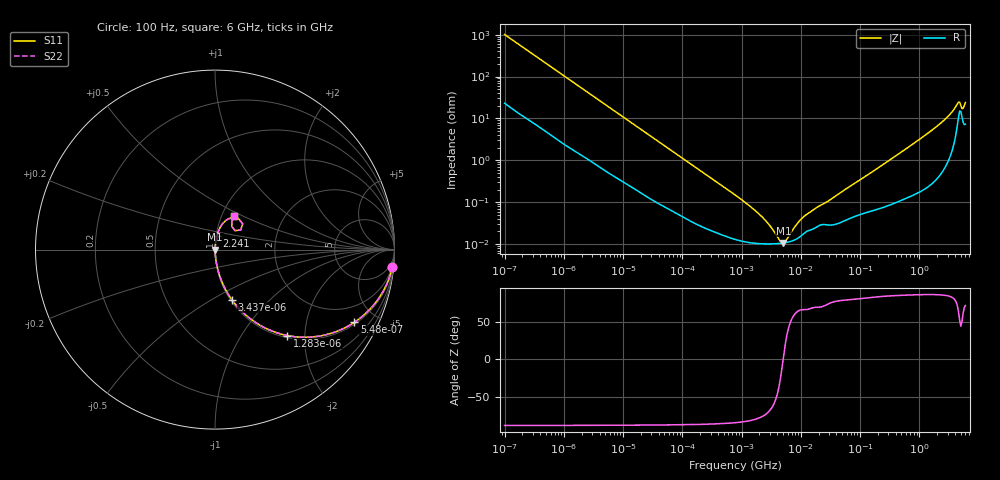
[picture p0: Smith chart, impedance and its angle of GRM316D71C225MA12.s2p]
!Murata Part Number: GRM316D71C225MA12
!These Parameters are Measured in Series Mode Connection
!Data Generated on Mar 30, 2021
!  o--ll--o
!Port1  Port2
!  o------o
!Operation Temp=25[degC], DC Bias Voltage=0[V]
!Freq. Start=100[Hz] Stop=6[GHz] 401[Steps]
# Hz S RI R 50
!Freq.(Hz) S11(Real) S11(Imag) S21(Real) S21(Imag) S12(Real) S12(Imag) S22(Real) S22(Imag)
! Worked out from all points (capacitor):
!   401 points, 100 Hz to 6 GHz, reference 50 ohm
!   read as one part in series: C = 1.57 uF near 109 Hz
!   lowest |Z| = 10.7 mohm at 5.079 MHz (marker M1)
!   series resonance near 5.03 MHz, so ESL is about 640 pH
!   S11 on the Smith chart (normalised r, x): 100 Hz: 1, -20; 548 Hz: 1.09, -3.78; 1.283 kHz: 1.04, -1.63; 3.437 kHz: 1.02, -0.62; 2.241 GHz: 1.01, +0.15; 6 GHz: 1.15, +0.46
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100  0.9881 -0.0975  0.0119 0.0975  0.0119 0.0975  0.9881 -0.0975
268  0.9313 -0.2417  0.0687 0.2417  0.0687 0.2417  0.9313 -0.2417
548  0.7762 -0.4053  0.2238 0.4053  0.2238 0.4053  0.7762 -0.4053
858  0.5946 -0.4796  0.4054 0.4796  0.4054 0.4796  0.5946 -0.4796
1283  0.4028 -0.4787  0.5972 0.4787  0.5972 0.4787  0.4028 -0.4787
2008  0.2224 -0.4036  0.7776 0.4036  0.7776 0.4036  0.2224 -0.4036
3437  0.0936 -0.2787  0.9064 0.2787  0.9064 0.2787  0.0936 -0.2787
10066  0.0144 -0.1058  0.9856 0.1058  0.9856 0.1058  0.0144 -0.1058
40335  0.00167 -0.0275  0.9983 0.0275  0.9983 0.0275  0.00167 -0.0275
774597  0.000132 -0.00149  0.9999 0.00149  0.9999 0.00149  0.000132 -0.00149
2169299  0.000102 -0.000449  0.9999 0.000449  0.9999 0.000449  0.000102 -0.000449
3103719  0.000101 -0.000239  0.9999 0.000239  0.9999 0.000239  0.000101 -0.000239
4440638  0.000104 -5.96e-05  0.9999 5.96e-05  0.9999 5.96e-05  0.000104 -5.96e-05
5079039  0.000107 4.7e-06  0.9999 -4.7e-06  0.9999 -4.7e-06  0.000107 4.7e-06
9941735  0.000154 0.000351  0.9998 -0.000351  0.9998 -0.000351  0.000154 0.000351
1.555665e7  0.000224 0.000586  0.9998 -0.000586  0.9998 -0.000586  0.000224 0.000586
3.124326e8  0.000948 0.00999  0.9991 -0.00999  0.9991 -0.00999  0.000948 0.00999
2.240541e9  0.00991 0.0737  0.9901 -0.0737  0.9901 -0.0737  0.00991 0.0737
3.505958e9  0.0331 0.1314  0.9669 -0.1314  0.9669 -0.1314  0.0331 0.1314
4.385646e9  0.0994 0.1787  0.9006 -0.1787  0.9006 -0.1787  0.0994 0.1787
5.245841e9  0.1113 0.106  0.8887 -0.106  0.8887 -0.106  0.1113 0.106
6e9  0.1084 0.1896  0.8916 -0.1896  0.8916 -0.1896  0.1084 0.1896
